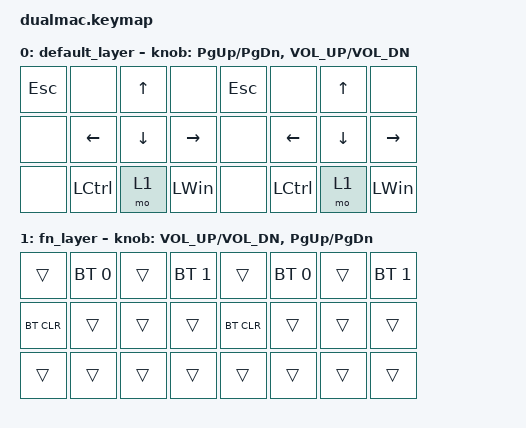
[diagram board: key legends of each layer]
/*
 * Copyright (c) 2020 The ZMK Contributors
 *
 * SPDX-License-Identifier: MIT
 */

#include <behaviors.dtsi>
#include <dt-bindings/zmk/bt.h>
#include <dt-bindings/zmk/keys.h>
#include <dt-bindings/zmk/outputs.h>

/ {
    // behaviors {
	// 	macro_1: macro_1 {
	// 		compatible = "zmk,behavior-macro";
	// 		label = "MACRO_1";
	// 		#binding-cells = <0>;
	// 		bindings = <&kp COLON>, <&kp S>, <&kp E>, <&kp S>, <&kp Y>, <&kp UNDER>, <&kp G>, <&kp I>, <&kp R>, <&kp L>, <&kp COLON>;
	// 	};
	// };

    keymap {
        compatible = "zmk,keymap";

        default_layer {
            bindings = <
                &kp ESC   &none     &kp UP     &none     /**/ &kp ESC   &none     &kp UP     &none
                &none     &kp LEFT  &kp DOWN   &kp RIGHT /**/ &none     &kp LEFT  &kp DOWN   &kp RIGHT
                &none     &kp LCTRL &mo 1      &kp LWIN  /**/ &none     &kp LCTRL &mo 1      &kp LWIN
            >;
            sensor-bindings = <&inc_dec_kp PG_UP PG_DN &inc_dec_kp C_VOL_UP C_VOL_DN>;
        };

        fn_layer {
            bindings = <
                &trans     &bt BT_SEL 0 &trans   &bt BT_SEL 1 /**/ &trans     &bt BT_SEL 0 &trans   &bt BT_SEL 1
                &bt BT_CLR &trans       &trans     &trans       /**/ &bt BT_CLR &trans       &trans     &trans
                &trans     &trans       &trans     &trans       /**/ &trans     &trans       &trans     &trans
            >;
            sensor-bindings = <&inc_dec_kp C_VOL_UP C_VOL_DN &inc_dec_kp PG_UP PG_DN>;
        };
    };
};
